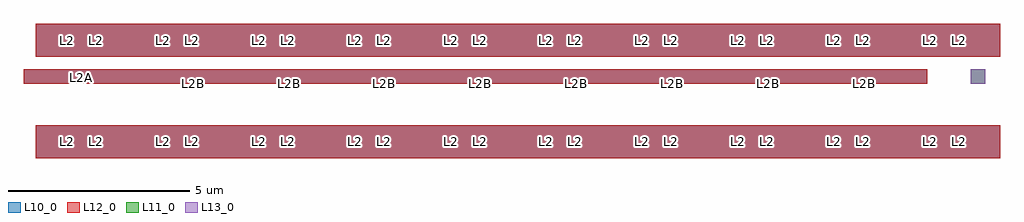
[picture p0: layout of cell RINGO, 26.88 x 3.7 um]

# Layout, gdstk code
import gdstk
lib = gdstk.Library(unit=1e-6, precision=1e-09)
def R(c, l, rs):  # rectangles x0, y0, x1, y1
    for r in rs: c.add(gdstk.rectangle(r[:2], r[2:], *l))
L10_0 = (10, 0)
L11_0 = (11, 0)
L12_0 = (12, 0)
L13_0 = (13, 0)

ringo = lib.new_cell('RINGO')
R(ringo, L10_0, [(-1.4,-0.45,25.16,0.45), (-1.72,1.6,23.16,2), (-1.4,2.35,25.16,3.25)])
R(ringo, L11_0, [(24.36,1.6,24.76,2)])
R(ringo, L12_0, [(-1.4,-0.45,25.16,0.45), (-1.72,1.6,23.16,2), (-1.4,2.35,25.16,3.25)])
R(ringo, L13_0, [(24.36,1.6,24.76,2)])
ringo.add(gdstk.Label('L2', (-0.52,0), layer=20, texttype=0))
ringo.add(gdstk.Label('L2', (0.28,0), layer=20, texttype=0))
ringo.add(gdstk.Label('L2', (-0.52,2.8), layer=20, texttype=0))
ringo.add(gdstk.Label('L2', (0.28,2.8), layer=20, texttype=0))
ringo.add(gdstk.Label('L2', (2.12,0), layer=20, texttype=0))
ringo.add(gdstk.Label('L2', (2.92,0), layer=20, texttype=0))
ringo.add(gdstk.Label('L2', (2.12,2.8), layer=20, texttype=0))
ringo.add(gdstk.Label('L2', (2.92,2.8), layer=20, texttype=0))
ringo.add(gdstk.Label('L2', (4.76,0), layer=20, texttype=0))
ringo.add(gdstk.Label('L2', (5.56,0), layer=20, texttype=0))
ringo.add(gdstk.Label('L2', (4.76,2.8), layer=20, texttype=0))
ringo.add(gdstk.Label('L2', (5.56,2.8), layer=20, texttype=0))
ringo.add(gdstk.Label('L2', (7.4,0), layer=20, texttype=0))
ringo.add(gdstk.Label('L2', (8.2,0), layer=20, texttype=0))
ringo.add(gdstk.Label('L2', (7.4,2.8), layer=20, texttype=0))
ringo.add(gdstk.Label('L2', (8.2,2.8), layer=20, texttype=0))
ringo.add(gdstk.Label('L2', (10.04,0), layer=20, texttype=0))
ringo.add(gdstk.Label('L2', (10.84,0), layer=20, texttype=0))
ringo.add(gdstk.Label('L2', (10.04,2.8), layer=20, texttype=0))
ringo.add(gdstk.Label('L2', (10.84,2.8), layer=20, texttype=0))
ringo.add(gdstk.Label('L2', (12.68,0), layer=20, texttype=0))
ringo.add(gdstk.Label('L2', (13.48,0), layer=20, texttype=0))
ringo.add(gdstk.Label('L2', (12.68,2.8), layer=20, texttype=0))
ringo.add(gdstk.Label('L2', (13.48,2.8), layer=20, texttype=0))
ringo.add(gdstk.Label('L2', (15.32,0), layer=20, texttype=0))
ringo.add(gdstk.Label('L2', (16.12,0), layer=20, texttype=0))
ringo.add(gdstk.Label('L2', (15.32,2.8), layer=20, texttype=0))
ringo.add(gdstk.Label('L2', (16.12,2.8), layer=20, texttype=0))
ringo.add(gdstk.Label('L2', (17.96,0), layer=20, texttype=0))
ringo.add(gdstk.Label('L2', (18.76,0), layer=20, texttype=0))
ringo.add(gdstk.Label('L2', (17.96,2.8), layer=20, texttype=0))
ringo.add(gdstk.Label('L2', (18.76,2.8), layer=20, texttype=0))
ringo.add(gdstk.Label('L2', (20.6,0), layer=20, texttype=0))
ringo.add(gdstk.Label('L2', (21.4,0), layer=20, texttype=0))
ringo.add(gdstk.Label('L2', (20.6,2.8), layer=20, texttype=0))
ringo.add(gdstk.Label('L2', (21.4,2.8), layer=20, texttype=0))
ringo.add(gdstk.Label('L2', (23.24,0), layer=20, texttype=0))
ringo.add(gdstk.Label('L2', (24.04,0), layer=20, texttype=0))
ringo.add(gdstk.Label('L2', (23.24,2.8), layer=20, texttype=0))
ringo.add(gdstk.Label('L2', (24.04,2.8), layer=20, texttype=0))
ringo.add(gdstk.Label('L2B', (21.42,1.6), layer=20, texttype=0))
ringo.add(gdstk.Label('L2B', (18.78,1.6), layer=20, texttype=0))
ringo.add(gdstk.Label('L2B', (16.14,1.6), layer=20, texttype=0))
ringo.add(gdstk.Label('L2B', (13.5,1.6), layer=20, texttype=0))
ringo.add(gdstk.Label('L2A', (-0.14,1.78), layer=20, texttype=0))
ringo.add(gdstk.Label('L2B', (0.3,1.6), layer=20, texttype=0))
ringo.add(gdstk.Label('L2B', (10.86,1.6), layer=20, texttype=0))
ringo.add(gdstk.Label('L2B', (2.94,1.6), layer=20, texttype=0))
ringo.add(gdstk.Label('L2B', (5.58,1.6), layer=20, texttype=0))
ringo.add(gdstk.Label('L2B', (8.22,1.6), layer=20, texttype=0))

lib.write_gds('RINGO.gds')
